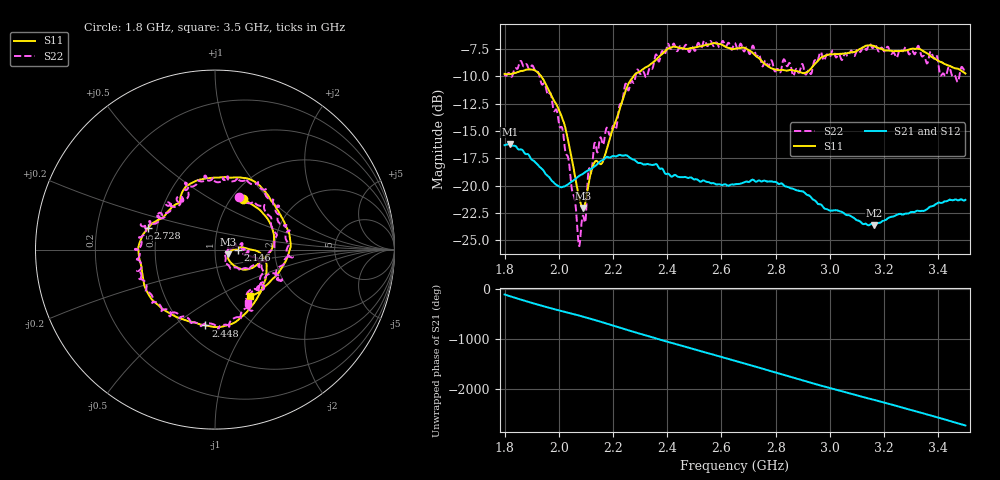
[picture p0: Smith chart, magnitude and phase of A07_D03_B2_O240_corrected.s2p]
! Created with skrf 1.9.0 (http://scikit-rf.org).
# Hz S RI R 50.0
!freq ReS11 ImS11 ReS21 ImS21 ReS12 ImS12 ReS22 ImS22
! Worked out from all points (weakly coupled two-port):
!   1601 points, 1.8 GHz to 3.5 GHz, reference 50 ohm
!   highest |S21| = -16.20 dB at 1.819 GHz (marker M1); lowest = -23.6 dB at 3.164 GHz (marker M2)
!   lowest |S11| = -22.1 dB at 2.09 GHz (marker M3), VSWR 1.17, Z = 58 - j2.97 ohm
!   |S11| at or under -10 dB: 1.935 GHz to 2.275 GHz (340.3 MHz wide, 16.2 % of centre)
!   |S22| runs from -25.5 to -6.7 dB; largest |S21 - S12| = 0.0027
!   S11 on the Smith chart (normalised r, x): 1.8 GHz: 1.13, +0.72; 2.146 GHz: 1.29, -0.00; 2.448 GHz: 0.64, -0.66; 2.728 GHz: 0.45, +0.13; 3.5 GHz: 1.26, -0.73
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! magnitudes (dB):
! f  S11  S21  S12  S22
! 1.8 GHz  -9.8  -16.3  -16.3  -9.9
! 1.819 GHz  -9.8  -16.2  -16.2  -9.8
! 1.903 GHz  -9.4  -17.7  -17.7  -9.0
! 1.968 GHz  -11.5  -19.3  -19.4  -11.5
! 2.015 GHz  -13.9  -20.1  -20.1  -15.0
! 2.072 GHz  -20.7  -19.2  -19.2  -25.1
! 2.084 GHz  -21.8  -19.0  -19.0  -23.4
! 2.09 GHz  -22.1  -18.9  -19.0  -22.8
! 2.112 GHz  -19.5  -18.6  -18.6  -18.4
! 2.146 GHz  -17.9  -18.0  -17.9  -16.6
! 2.209 GHz  -14.2  -17.3  -17.3  -14.9
! 2.26 GHz  -10.5  -17.4  -17.4  -11.1
! 2.367 GHz  -8.3  -18.3  -18.2  -8.6
! 2.448 GHz  -7.4  -19.2  -19.2  -7.3
! 2.65 GHz  -7.5  -19.9  -19.9  -7.0
! 2.728 GHz  -8.1  -19.7  -19.7  -8.1
! 2.934 GHz  -9.2  -21.2  -21.1  -9.6
! 3.164 GHz  -7.2  -23.6  -23.6  -7.2
! 3.217 GHz  -7.6  -22.9  -22.9  -7.5
! 3.376 GHz  -8.2  -21.9  -21.9  -7.9
! 3.468 GHz  -9.3  -21.3  -21.3  -10.4
! 3.5 GHz  -9.7  -21.3  -21.3  -9.1
